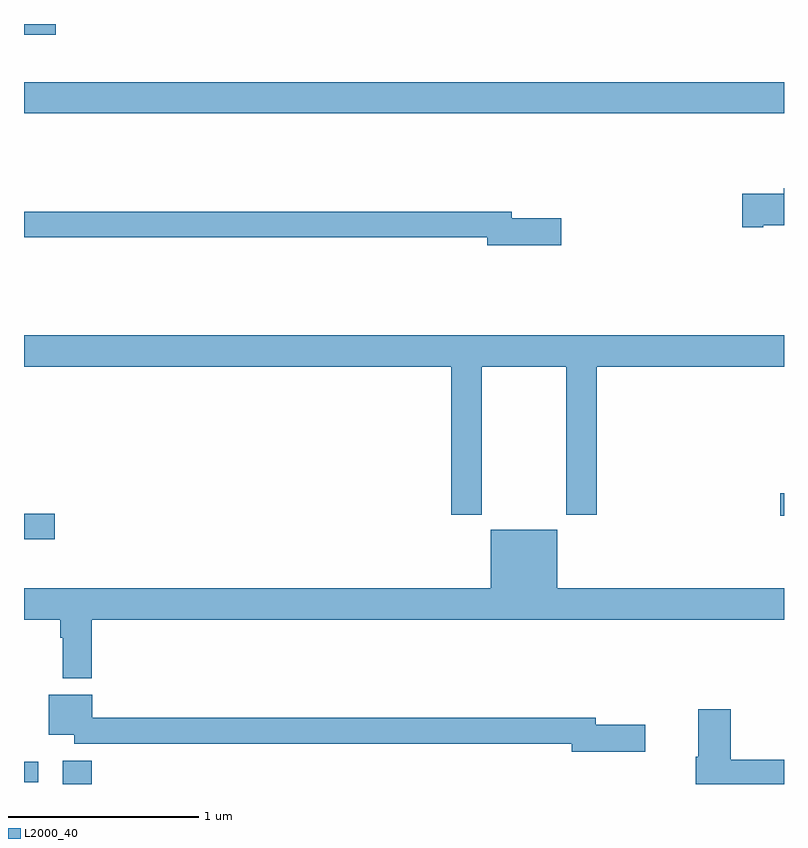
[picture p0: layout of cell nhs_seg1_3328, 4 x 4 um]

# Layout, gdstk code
import gdstk
lib = gdstk.Library(unit=1e-6, precision=1e-09)
def R(c, l, rs):  # rectangles x0, y0, x1, y1
    for r in rs: c.add(gdstk.rectangle(r[:2], r[2:], *l))
def P(c, l, *ps):  # polygons
    for p in ps: c.add(gdstk.Polygon(p, *l))
L2000_40 = (2000, 40)

nhs_seg1_3328 = lib.new_cell('nhs_seg1_3328')
R(nhs_seg1_3328, L2000_40, [(291.203,552.199,291.356,552.322), (291,552.207,291.076,552.317), (291,553.487,291.163,553.622), (294.98,553.61,295,553.728), (291,555.728,295,555.892), (291,556.143,291.167,556.199)])
P(nhs_seg1_3328, L2000_40, [(294.892,555.14),(295,555.14),(295,555.334),(294.998,555.334),(294.998,555.306),(294.78,555.306),(294.78,555.128),(294.892,555.128)],
  [(293.827,555.176),(293.566,555.176),(293.566,555.212),(291,555.212),(291,555.076),(293.438,555.076),(293.438,555.034),(293.827,555.034)],
  [(293.409,554.396),(293.854,554.396),(293.854,553.617),(294.014,553.617),(294.014,554.396),(295,554.396),(295,554.56),(291,554.56),(291,554.396),(293.249,554.396),(293.249,553.617),(293.409,553.617)],
  [(291.356,553.064),(295,553.064),(295,553.228),(293.806,553.228),(293.806,553.537),(293.456,553.537),(293.456,553.228),(291,553.228),(291,553.064),(291.191,553.064),(291.191,552.968),(291.203,552.968),(291.203,552.755),(291.356,552.755)],
  [(294.271,552.512),(294.01,552.512),(294.01,552.548),(291.358,552.548),(291.358,552.67),(291.131,552.67),(291.131,552.458),(291.264,552.458),(291.264,552.412),(293.882,552.412),(293.882,552.37),(294.271,552.37)],
  [(295,552.326),(294.719,552.326),(294.719,552.592),(294.548,552.592),(294.548,552.343),(294.536,552.343),(294.536,552.199),(295,552.199)])

lib.write_gds('nhs_seg1_3328.gds')
